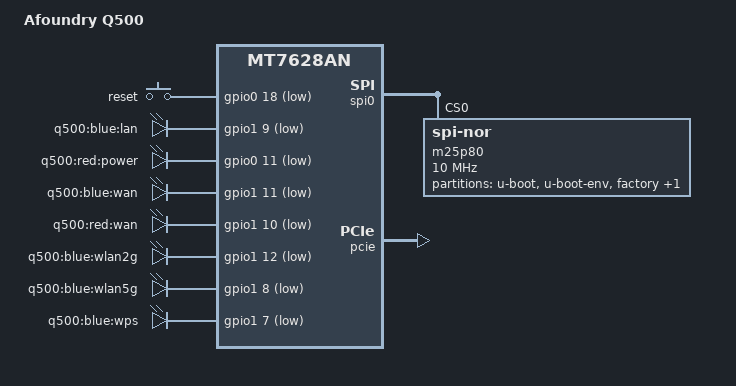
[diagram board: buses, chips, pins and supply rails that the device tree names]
/dts-v1/;

#include "mt7628an.dtsi"

#include <dt-bindings/gpio/gpio.h>
#include <dt-bindings/input/input.h>

/ {
	compatible = "q500", "mediatek,mt7628an-soc";
	model = "Afoundry Q500";

	gpio-keys-polled {
		compatible = "gpio-keys-polled";
		#address-cells = <1>;
		#size-cells = <0>;
		poll-interval = <20>;

		reset {
			label = "reset";
			gpios = <&gpio0 18 GPIO_ACTIVE_LOW>;
			linux,code = <KEY_RESTART>;
		};
	};

	gpio-leds {
		compatible = "gpio-leds";

		lan {
			label = "q500:blue:lan";
			gpios = <&gpio1 9 GPIO_ACTIVE_LOW>;
		};

		power {
			label = "q500:red:power";
			gpios = <&gpio0 11 GPIO_ACTIVE_LOW>;
		};

		wan {
			label = "q500:blue:wan";
			gpios = <&gpio1 11 GPIO_ACTIVE_LOW>;
		};

		wan_orange {
			label = "q500:red:wan";
			gpios = <&gpio1 10 GPIO_ACTIVE_LOW>;
		};

		wlan {
			label = "q500:blue:wlan2g";
			gpios = <&gpio1 12 GPIO_ACTIVE_LOW>;
		};

		wlan5 {
			label = "q500:blue:wlan5g";
			gpios = <&gpio1 8 GPIO_ACTIVE_LOW>;
		};

		wps {
			label = "q500:blue:wps";
			gpios = <&gpio1 7 GPIO_ACTIVE_LOW>;
		};
	};
};

&pinctrl {
	state_default: pinctrl0 {
		gpio {
			ralink,group = "i2c", "gpio", "p0led_an", "p1led_an", "p2led_an",
				       "p3led_an", "p4led_an", "wdt", "wled_an";
			ralink,function = "gpio";
		};
	};
};

&spi0 {
	status = "okay";

	m25p80@0 {
		#address-cells = <1>;
		#size-cells = <1>;
		compatible = "jedec,spi-nor";
		reg = <0>;
		spi-max-frequency = <10000000>;
		m25p,chunked-io = <32>;

		partition@0 {
			label = "u-boot";
			reg = <0x0 0x30000>;
			read-only;
		};

		partition@30000 {
			label = "u-boot-env";
			reg = <0x30000 0x10000>;
			read-only;
		};

		factory: partition@40000 {
			label = "factory";
			reg = <0x40000 0x10000>;
			read-only;
		};

		partition@50000 {
			label = "firmware";
			reg = <0x50000 0xfb0000>;
		};
	};
};

&pcie {
	status = "okay";

	pcie0 {
		mt76@0,0 {
			reg = <0x0000 0 0 0 0>;
			device_type = "pci";
			mediatek,mtd-eeprom = <&factory 0x8000>;
			ieee80211-freq-limit = <5000000 6000000>;
		};
	};

	pcie1 {
		mt76@1,0 {
			reg = <0x0000 0 0 0 0>;
			device_type = "pci";
			mediatek,mtd-eeprom = <&factory 0x0000>;
			ieee80211-freq-limit = <2400000 2500000>;
		};
	};
};

&ethernet {
	mtd-mac-address = <&factory 0xe000>;
};
